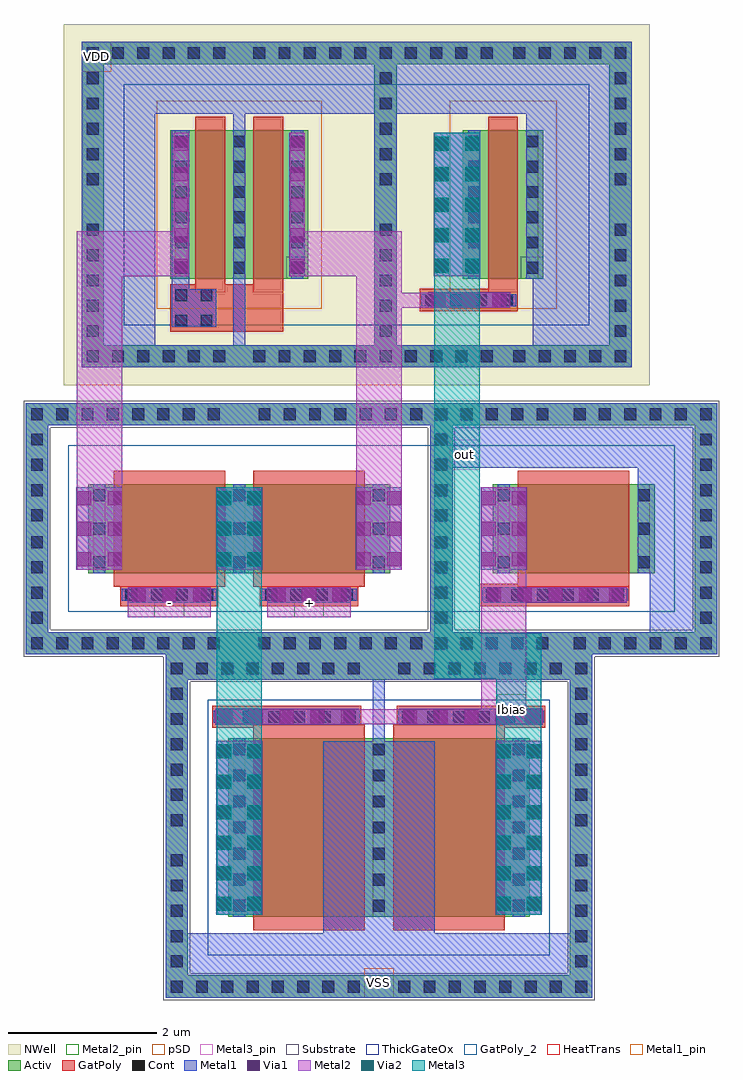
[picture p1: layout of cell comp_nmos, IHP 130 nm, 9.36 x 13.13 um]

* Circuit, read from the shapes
.subckt comp_nmos + - Ibias VDD VSS out
XM1 n1 - n2 VSS sg13_hv_nmos w=1.2u l=1.5u
XM2 VSS Ibias n1 VSS sg13_hv_nmos w=2.4u l=1.5u
XM3 n3 + n1 VSS sg13_hv_nmos w=1.2u l=1.5u
XM4 out Ibias VSS VSS sg13_hv_nmos w=2.4u l=1.5u
XM5 VSS Ibias Ibias VSS sg13_hv_nmos w=1.2u l=1.5u
XM6 VDD n2 n2 VDD sg13_hv_pmos w=2u l=0.4u
XM7 n3 n2 VDD VDD sg13_hv_pmos w=2u l=0.4u
XM8 VDD n3 out VDD sg13_hv_pmos w=2u l=0.4u
.ends

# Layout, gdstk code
from math import pi, radians
import gdstk
lib = gdstk.Library(unit=1e-6, precision=1e-09)
def R(c, l, rs):  # rectangles x0, y0, x1, y1
    for r in rs: c.add(gdstk.rectangle(r[:2], r[2:], *l))
def A(c, l, x, y, w, h, nx, ny, dx, dy):  # array of equal rectangles
    R(c, l, [(x+i*dx, y+j*dy, x+i*dx+w, y+j*dy+h) for i in range(nx) for j in range(ny)])
def P(c, l, *ps):  # polygons
    for p in ps: c.add(gdstk.Polygon(p, *l))
Activ = (1, 0)
GatPoly = (5, 0)
GatPoly_2 = (5, 2)
Cont = (6, 0)
Metal1 = (8, 0)
Metal1_pin = (8, 2)
Metal2 = (10, 0)
Metal2_pin = (10, 2)
pSD = (14, 0)
Via1 = (19, 0)
Via2 = (29, 0)
Metal3 = (30, 0)
Metal3_pin = (30, 2)
NWell = (31, 0)
Substrate = (40, 0)
ThickGateOx = (44, 0)
HeatTrans = (51, 0)

nmoshv_6 = lib.new_cell('nmosHV$6')
A(nmoshv_6, Activ, 0, 0, 0.3, 0.3, 3, 1, 1.88, 0)
R(nmoshv_6, Activ, [(-0.84,-0.79,-0.54,1.99), (4.6,-0.79,4.9,1.99), (0,0,4.06,1.2), (-0.84,1.99,4.9,2.29)])
P(nmoshv_6, Activ, [(-0.84,-1.09),(-0.84,1.99),(-0.54,1.99),(-0.54,-0.79),(4.6,-0.79),(4.6,1.99),(-0.84,1.99),(-0.84,2.29),(4.9,2.29),(4.9,-1.09)])
R(nmoshv_6, GatPoly, [(0.34,-0.18,1.84,1.38), (2.22,-0.18,3.72,1.38)])
R(nmoshv_6, GatPoly_2, [(0.34,-0.18,1.84,1.38)])
A(nmoshv_6, Cont, -0.77, -1.02, 0.16, 0.16, 8, 2, 0.34, 3.08)
A(nmoshv_6, Cont, 2.29, -1.02, 0.16, 0.16, 8, 2, 0.34, 3.08)
A(nmoshv_6, Cont, -0.77, -0.68, 0.16, 0.16, 1, 4, 0, 0.34)
A(nmoshv_6, Cont, 4.67, -0.68, 0.16, 0.16, 1, 4, 0, 0.34)
A(nmoshv_6, Cont, 0.07, 0.07, 0.16, 0.16, 3, 3, 1.88, 0.45)
A(nmoshv_6, Cont, -0.77, 0.7, 0.16, 0.16, 1, 4, 0, 0.34)
A(nmoshv_6, Cont, 4.67, 0.7, 0.16, 0.16, 1, 4, 0, 0.34)
A(nmoshv_6, Metal1, 0.07, 0, 0.16, 1.2, 3, 1, 1.88, 0)
R(nmoshv_6, Metal1, [(-0.84,-1.09,4.9,-0.79), (-0.84,-0.79,-0.54,1.99), (4.6,-0.79,4.9,1.99), (-0.84,1.99,4.9,2.29)])
R(nmoshv_6, Metal1_pin, [(0.07,0,0.23,1.2), (1.95,0,2.11,1.2)])
R(nmoshv_6, pSD, [(-0.87,-0.76,-0.51,1.96), (4.57,-0.76,4.93,1.96), (-0.87,1.96,4.93,2.32)])
P(nmoshv_6, pSD, [(-0.87,-1.12),(-0.87,1.96),(-0.51,1.96),(-0.51,-0.76),(4.57,-0.76),(4.57,1.96),(-0.87,1.96),(-0.87,2.32),(4.93,2.32),(4.93,-1.12)])
R(nmoshv_6, Substrate, [(-0.87,-0.76,-0.51,1.96), (4.57,-0.76,4.93,1.96), (-0.87,1.96,4.93,2.32)])
P(nmoshv_6, Substrate, [(-0.87,-1.12),(-0.87,1.96),(-0.51,1.96),(-0.51,-0.76),(4.57,-0.76),(4.57,1.96),(-0.87,1.96),(-0.87,2.32),(4.93,2.32),(4.93,-1.12)])
R(nmoshv_6, ThickGateOx, [(-0.27,-0.52,4.33,1.72)])
R(nmoshv_6, HeatTrans, [(0.34,-0.18,1.84,1.38), (2.22,-0.18,3.72,1.38)])
nmoshv_6.add(gdstk.Label('nmosHV', (1.09,0.6), layer=63, texttype=0))
nmoshv_6.add(gdstk.Label('sub!', (2.03,-0.94), layer=63, texttype=0))
nmoshv_6.add(gdstk.Label('nmosHV', (1.09,0.6), layer=51, texttype=0))
nmoshv_6.add(gdstk.Label('nmosHV', (2.97,0.6), layer=51, texttype=0))

via_stack_15_1 = lib.new_cell('via_stack$15$1')
R(via_stack_15_1, Metal1, [(-0.555,-0.31,0.555,0.31)])
R(via_stack_15_1, Metal2, [(-0.555,-0.305,0.555,0.305)])
A(via_stack_15_1, Via1, -0.505, -0.3, 0.19, 0.19, 3, 2, 0.41, 0.41)

via_stack_18 = lib.new_cell('via_stack$18')
R(via_stack_18, Metal1, [(-0.965,-0.105,0.965,0.105)])
R(via_stack_18, Metal2, [(-0.965,-0.1,0.965,0.1)])
A(via_stack_18, Via1, -0.915, -0.095, 0.19, 0.19, 5, 1, 0.41, 0)

via_stack_23 = lib.new_cell('via_stack$23')
R(via_stack_23, GatPoly, [(-0.32,-0.32,0.32,0.32)])
R(via_stack_23, Cont, [(-0.25,-0.25,-0.09,-0.09), (0.09,-0.25,0.25,-0.09), (-0.25,0.09,-0.09,0.25), (0.09,0.09,0.25,0.25)])
R(via_stack_23, Metal1, [(-0.3,-0.25,0.3,0.25)])

via_stack_8_1 = lib.new_cell('via_stack$8$1')
R(via_stack_8_1, Metal1, [(-0.555,-0.31,0.555,0.31)])
R(via_stack_8_1, Metal2, [(-0.555,-0.305,0.555,0.305)])
A(via_stack_8_1, Via1, -0.505, -0.3, 0.19, 0.19, 3, 2, 0.41, 0.41)
A(via_stack_8_1, Via2, -0.505, -0.3, 0.19, 0.19, 3, 2, 0.41, 0.41)
R(via_stack_8_1, Metal3, [(-0.555,-0.305,0.555,0.305)])

pmoshv_1_1 = lib.new_cell('pmosHV$1$1')
R(pmoshv_1_1, Activ, [(-1.19,-0.89,-0.89,2.89), (1.97,-0.89,2.27,2.89), (0,0,0.3,0.3), (0,0,1.08,2), (0.78,0,1.08,0.3), (-1.19,2.89,2.27,3.19)])
P(pmoshv_1_1, Activ, [(-1.19,-1.19),(-1.19,2.89),(-0.89,2.89),(-0.89,-0.89),(1.97,-0.89),(1.97,2.89),(-1.19,2.89),(-1.19,3.19),(2.27,3.19),(2.27,-1.19)])
R(pmoshv_1_1, GatPoly, [(0.34,-0.18,0.74,2.18)])
R(pmoshv_1_1, GatPoly_2, [(0.34,-0.18,0.74,2.18)])
A(pmoshv_1_1, Cont, -1.12, -1.12, 0.16, 0.16, 5, 2, 0.34, 4.08)
A(pmoshv_1_1, Cont, 0.68, -1.12, 0.16, 0.16, 5, 2, 0.34, 4.08)
A(pmoshv_1_1, Cont, -1.12, -0.78, 0.16, 0.16, 1, 5, 0, 0.34)
A(pmoshv_1_1, Cont, 2.04, -0.78, 0.16, 0.16, 1, 5, 0, 0.34)
A(pmoshv_1_1, Cont, 0.07, 0.07, 0.16, 0.16, 1, 6, 0, 0.34)
A(pmoshv_1_1, Cont, 0.85, 0.07, 0.16, 0.16, 1, 6, 0, 0.34)
A(pmoshv_1_1, Cont, -1.12, 1.26, 0.16, 0.16, 1, 5, 0, 0.34)
A(pmoshv_1_1, Cont, 2.04, 1.26, 0.16, 0.16, 1, 5, 0, 0.34)
R(pmoshv_1_1, Metal1, [(-1.19,-1.19,2.27,-0.89), (-1.19,-0.89,-0.89,2.89), (1.97,-0.89,2.27,2.89), (0.07,0,0.23,2), (0.85,0,1.01,2), (-1.19,2.89,2.27,3.19)])
R(pmoshv_1_1, Metal1_pin, [(0.07,0,0.23,2), (0.85,0,1.01,2)])
R(pmoshv_1_1, pSD, [(-0.18,-0.4,1.26,2.4)])
R(pmoshv_1_1, NWell, [(-1.43,-1.43,2.51,3.43), (-0.62,-0.62,1.7,2.62)])
R(pmoshv_1_1, Substrate, [(0.78,0,1.08,0.3)])
R(pmoshv_1_1, ThickGateOx, [(-0.62,-0.62,1.7,2.62)])
R(pmoshv_1_1, HeatTrans, [(0.34,-0.18,0.74,2.18)])
pmoshv_1_1.add(gdstk.Label('pmosHV', (0.54,1), layer=63, texttype=0))
pmoshv_1_1.add(gdstk.Label('well', (0.54,-1.04), layer=63, texttype=0))
pmoshv_1_1.add(gdstk.Label('pmos', (0.54,1), layer=51, texttype=0))

pmoshv_2 = lib.new_cell('pmosHV$2')
A(pmoshv_2, Activ, 0, 0, 0.3, 0.3, 3, 1, 0.78, 0)
R(pmoshv_2, Activ, [(-1.19,-0.89,-0.89,2.89), (2.75,-0.89,3.05,2.89), (0,0,1.86,2), (-1.19,2.89,3.05,3.19)])
P(pmoshv_2, Activ, [(-1.19,-1.19),(-1.19,2.89),(-0.89,2.89),(-0.89,-0.89),(2.75,-0.89),(2.75,2.89),(-1.19,2.89),(-1.19,3.19),(3.05,3.19),(3.05,-1.19)])
R(pmoshv_2, GatPoly, [(0.34,-0.18,0.74,2.18), (1.12,-0.18,1.52,2.18)])
R(pmoshv_2, GatPoly_2, [(0.34,-0.18,0.74,2.18)])
A(pmoshv_2, Cont, -1.12, -1.12, 0.16, 0.16, 6, 2, 0.34, 4.08)
A(pmoshv_2, Cont, 1.12, -1.12, 0.16, 0.16, 6, 2, 0.34, 4.08)
A(pmoshv_2, Cont, -1.12, -0.78, 0.16, 0.16, 1, 5, 0, 0.34)
A(pmoshv_2, Cont, 2.82, -0.78, 0.16, 0.16, 1, 5, 0, 0.34)
A(pmoshv_2, Cont, 0.07, 0.07, 0.16, 0.16, 3, 6, 0.78, 0.34)
A(pmoshv_2, Cont, -1.12, 1.26, 0.16, 0.16, 1, 5, 0, 0.34)
A(pmoshv_2, Cont, 2.82, 1.26, 0.16, 0.16, 1, 5, 0, 0.34)
A(pmoshv_2, Metal1, 0.07, 0, 0.16, 2, 3, 1, 0.78, 0)
R(pmoshv_2, Metal1, [(-1.19,-1.19,3.05,-0.89), (-1.19,-0.89,-0.89,2.89), (2.75,-0.89,3.05,2.89), (-1.19,2.89,3.05,3.19)])
R(pmoshv_2, Metal1_pin, [(0.07,0,0.23,2), (0.85,0,1.01,2)])
R(pmoshv_2, pSD, [(-0.18,-0.4,2.04,2.4)])
R(pmoshv_2, NWell, [(-1.43,-1.43,3.29,3.43), (-0.62,-0.62,2.48,2.62)])
R(pmoshv_2, Substrate, [(1.56,0,1.86,0.3)])
R(pmoshv_2, ThickGateOx, [(-0.62,-0.62,2.48,2.62)])
R(pmoshv_2, HeatTrans, [(0.34,-0.18,0.74,2.18), (1.12,-0.18,1.52,2.18)])
pmoshv_2.add(gdstk.Label('pmosHV', (0.54,1), layer=63, texttype=0))
pmoshv_2.add(gdstk.Label('well', (0.93,-1.04), layer=63, texttype=0))
pmoshv_2.add(gdstk.Label('pmos', (0.54,1), layer=51, texttype=0))
pmoshv_2.add(gdstk.Label('pmos', (1.32,1), layer=51, texttype=0))

via_stack_11 = lib.new_cell('via_stack$11')
R(via_stack_11, Metal1, [(-1.17,-0.31,1.17,0.31)])
R(via_stack_11, Metal2, [(-1.17,-0.305,1.17,0.305)])
A(via_stack_11, Via1, -1.12, -0.3, 0.19, 0.19, 6, 2, 0.41, 0.41)
A(via_stack_11, Via2, -1.12, -0.3, 0.19, 0.19, 6, 2, 0.41, 0.41)
R(via_stack_11, Metal3, [(-1.17,-0.305,1.17,0.305)])

nmoshv_1 = lib.new_cell('nmosHV$1')
A(nmoshv_1, Activ, 0, 0, 0.3, 0.3, 3, 1, 1.88, 0)
R(nmoshv_1, Activ, [(-0.84,-0.79,-0.54,3.19), (4.6,-0.79,4.9,3.19), (0,0,4.06,2.4), (-0.84,3.19,4.9,3.49)])
P(nmoshv_1, Activ, [(-0.84,-1.09),(-0.84,3.19),(-0.54,3.19),(-0.54,-0.79),(4.6,-0.79),(4.6,3.19),(-0.84,3.19),(-0.84,3.49),(4.9,3.49),(4.9,-1.09)])
R(nmoshv_1, GatPoly, [(0.34,-0.18,1.84,2.58), (2.22,-0.18,3.72,2.58)])
R(nmoshv_1, GatPoly_2, [(0.34,-0.18,1.84,2.58)])
A(nmoshv_1, Cont, -0.77, -1.02, 0.16, 0.16, 8, 2, 0.34, 4.28)
A(nmoshv_1, Cont, 2.29, -1.02, 0.16, 0.16, 8, 2, 0.34, 4.28)
A(nmoshv_1, Cont, -0.77, -0.68, 0.16, 0.16, 1, 5, 0, 0.34)
A(nmoshv_1, Cont, 4.67, -0.68, 0.16, 0.16, 1, 5, 0, 0.34)
A(nmoshv_1, Cont, 0.07, 0.07, 0.16, 0.16, 3, 7, 1.88, 0.35)
A(nmoshv_1, Cont, -0.77, 1.22, 0.16, 0.16, 1, 6, 0, 0.34)
A(nmoshv_1, Cont, 4.67, 1.22, 0.16, 0.16, 1, 6, 0, 0.34)
A(nmoshv_1, Metal1, 0.07, 0, 0.16, 2.4, 3, 1, 1.88, 0)
R(nmoshv_1, Metal1, [(-0.84,-1.09,4.9,-0.79), (-0.84,-0.79,-0.54,3.19), (4.6,-0.79,4.9,3.19), (-0.84,3.19,4.9,3.49)])
R(nmoshv_1, Metal1_pin, [(0.07,0,0.23,2.4), (1.95,0,2.11,2.4)])
R(nmoshv_1, pSD, [(-0.87,-0.76,-0.51,3.16), (4.57,-0.76,4.93,3.16), (-0.87,3.16,4.93,3.52)])
P(nmoshv_1, pSD, [(-0.87,-1.12),(-0.87,3.16),(-0.51,3.16),(-0.51,-0.76),(4.57,-0.76),(4.57,3.16),(-0.87,3.16),(-0.87,3.52),(4.93,3.52),(4.93,-1.12)])
R(nmoshv_1, Substrate, [(-0.87,-0.76,-0.51,3.16), (4.57,-0.76,4.93,3.16), (-0.87,3.16,4.93,3.52)])
P(nmoshv_1, Substrate, [(-0.87,-1.12),(-0.87,3.16),(-0.51,3.16),(-0.51,-0.76),(4.57,-0.76),(4.57,3.16),(-0.87,3.16),(-0.87,3.52),(4.93,3.52),(4.93,-1.12)])
R(nmoshv_1, ThickGateOx, [(-0.27,-0.52,4.33,2.92)])
R(nmoshv_1, HeatTrans, [(0.34,-0.18,1.84,2.58), (2.22,-0.18,3.72,2.58)])
nmoshv_1.add(gdstk.Label('nmosHV', (1.09,1.2), layer=63, texttype=0))
nmoshv_1.add(gdstk.Label('sub!', (2.03,-0.94), layer=63, texttype=0))
nmoshv_1.add(gdstk.Label('nmosHV', (1.09,1.2), layer=51, texttype=0))
nmoshv_1.add(gdstk.Label('nmosHV', (2.97,1.2), layer=51, texttype=0))

via_stack_12_1 = lib.new_cell('via_stack$12$1')
R(via_stack_12_1, Metal1, [(-0.965,-0.31,0.965,0.31)])
R(via_stack_12_1, Metal2, [(-0.965,-0.305,0.965,0.305)])
A(via_stack_12_1, Via1, -0.915, -0.3, 0.19, 0.19, 5, 2, 0.41, 0.41)
A(via_stack_12_1, Via2, -0.915, -0.3, 0.19, 0.19, 5, 2, 0.41, 0.41)
R(via_stack_12_1, Metal3, [(-0.965,-0.305,0.965,0.305)])

via_stack_13_1 = lib.new_cell('via_stack$13$1')
R(via_stack_13_1, GatPoly, [(-0.15,-1,0.15,1)])
A(via_stack_13_1, Cont, -0.08, -0.93, 0.16, 0.16, 1, 6, 0, 0.34)
R(via_stack_13_1, Metal1, [(-0.08,-0.98,0.08,0.98)])

via_stack_14_1 = lib.new_cell('via_stack$14$1')
R(via_stack_14_1, Metal1, [(-0.105,-0.965,0.105,0.965)])
R(via_stack_14_1, Metal2, [(-0.1,-0.965,0.1,0.965)])
A(via_stack_14_1, Via1, -0.095, -0.915, 0.19, 0.19, 1, 5, 0, 0.41)

via_stack_19_1 = lib.new_cell('via_stack$19$1')
R(via_stack_19_1, GatPoly, [(-0.15,-0.66,0.15,0.66)])
A(via_stack_19_1, Cont, -0.08, -0.59, 0.16, 0.16, 1, 4, 0, 0.34)
R(via_stack_19_1, Metal1, [(-0.08,-0.64,0.08,0.64)])

via_stack_22 = lib.new_cell('via_stack$22')
R(via_stack_22, GatPoly, [(-0.66,-0.15,0.66,0.15)])
A(via_stack_22, Cont, -0.59, -0.08, 0.16, 0.16, 4, 1, 0.34, 0)
R(via_stack_22, Metal1, [(-0.64,-0.08,0.64,0.08)])

via_stack_16_1 = lib.new_cell('via_stack$16$1')
R(via_stack_16_1, Metal1, [(-0.555,-0.105,0.555,0.105)])
R(via_stack_16_1, Metal2, [(-0.555,-0.1,0.555,0.1)])
A(via_stack_16_1, Via1, -0.505, -0.095, 0.19, 0.19, 3, 1, 0.41, 0)

via_stack_20 = lib.new_cell('via_stack$20')
R(via_stack_20, Metal1, [(-0.105,-0.555,0.105,0.555)])
R(via_stack_20, Metal2, [(-0.1,-0.555,0.1,0.555)])
A(via_stack_20, Via1, -0.095, -0.505, 0.19, 0.19, 1, 3, 0, 0.41)

nmoshv_2_1 = lib.new_cell('nmosHV$2$1')
R(nmoshv_2_1, Activ, [(-0.84,-0.79,-0.54,1.99), (2.72,-0.79,3.02,1.99), (0,0,0.3,0.3), (0,0,2.18,1.2), (1.88,0,2.18,0.3), (-0.84,1.99,3.02,2.29)])
P(nmoshv_2_1, Activ, [(-0.84,-1.09),(-0.84,1.99),(-0.54,1.99),(-0.54,-0.79),(2.72,-0.79),(2.72,1.99),(-0.84,1.99),(-0.84,2.29),(3.02,2.29),(3.02,-1.09)])
R(nmoshv_2_1, GatPoly, [(0.34,-0.18,1.84,1.38)])
R(nmoshv_2_1, GatPoly_2, [(0.34,-0.18,1.84,1.38)])
A(nmoshv_2_1, Cont, -0.77, -1.02, 0.16, 0.16, 5, 2, 0.34, 3.08)
A(nmoshv_2_1, Cont, 1.09, -1.02, 0.16, 0.16, 6, 2, 0.34, 3.08)
A(nmoshv_2_1, Cont, -0.77, -0.68, 0.16, 0.16, 1, 4, 0, 0.34)
A(nmoshv_2_1, Cont, 2.79, -0.68, 0.16, 0.16, 1, 4, 0, 0.34)
A(nmoshv_2_1, Cont, 0.07, 0.07, 0.16, 0.16, 1, 3, 0, 0.45)
A(nmoshv_2_1, Cont, 1.95, 0.07, 0.16, 0.16, 1, 3, 0, 0.45)
A(nmoshv_2_1, Cont, -0.77, 0.7, 0.16, 0.16, 1, 4, 0, 0.34)
A(nmoshv_2_1, Cont, 2.79, 0.7, 0.16, 0.16, 1, 4, 0, 0.34)
R(nmoshv_2_1, Metal1, [(-0.84,-1.09,3.02,-0.79), (-0.84,-0.79,-0.54,1.99), (2.72,-0.79,3.02,1.99), (0.07,0,0.23,1.2), (1.95,0,2.11,1.2), (-0.84,1.99,3.02,2.29)])
R(nmoshv_2_1, Metal1_pin, [(0.07,0,0.23,1.2), (1.95,0,2.11,1.2)])
R(nmoshv_2_1, pSD, [(-0.87,-0.76,-0.51,1.96), (2.69,-0.76,3.05,1.96), (-0.87,1.96,3.05,2.32)])
P(nmoshv_2_1, pSD, [(-0.87,-1.12),(-0.87,1.96),(-0.51,1.96),(-0.51,-0.76),(2.69,-0.76),(2.69,1.96),(-0.87,1.96),(-0.87,2.32),(3.05,2.32),(3.05,-1.12)])
R(nmoshv_2_1, Substrate, [(-0.87,-0.76,-0.51,1.96), (2.69,-0.76,3.05,1.96), (-0.87,1.96,3.05,2.32)])
P(nmoshv_2_1, Substrate, [(-0.87,-1.12),(-0.87,1.96),(-0.51,1.96),(-0.51,-0.76),(2.69,-0.76),(2.69,1.96),(-0.87,1.96),(-0.87,2.32),(3.05,2.32),(3.05,-1.12)])
R(nmoshv_2_1, ThickGateOx, [(-0.27,-0.52,2.45,1.72)])
R(nmoshv_2_1, HeatTrans, [(0.34,-0.18,1.84,1.38)])
nmoshv_2_1.add(gdstk.Label('nmosHV', (1.09,0.6), layer=63, texttype=0))
nmoshv_2_1.add(gdstk.Label('sub!', (1.09,-0.94), layer=63, texttype=0))
nmoshv_2_1.add(gdstk.Label('nmosHV', (1.09,0.6), layer=51, texttype=0))

comp_nmos = lib.new_cell('comp_nmos')
R(comp_nmos, Activ, [(-0.99,-0.82,4.75,-0.78)])
R(comp_nmos, GatPoly, [(-0.93,3.56,0.59,4.2)])
R(comp_nmos, Metal1, [(-0.69,-5.1,4.45,-4.53), (1.8,-5.1,1.96,-4.31), (1.13,-4.53,2.63,-1.95), (1.8,-1.91,1.96,-1.12), (-0.99,-0.82,4.75,-0.78), (5.52,-0.48,6.13,0.31), (5.36,0.31,6.13,2.3), (2.87,1.73,5.36,2.3), (-1.82,3.38,-1.13,7.16), (-0.08,3.38,0.08,7.16), (3.95,3.38,4.98,4.27), (-0.91,3.63,-0.67,6.27), (3.86,4.27,4.98,7.16), (-1.13,6.49,3.86,7.16)])
R(comp_nmos, Metal1_pin, [(1.68,-5.4,2.08,-5), (-2.12,7.06,-1.72,7.46)])
R(comp_nmos, Metal2, [(-0.325,-1.72,4.085,-1.52), (3.255,-1.72,3.865,1.465), (-1.5,-0.28,-0.38,0.12), (0.38,-0.28,1.5,0.12)])
R(comp_nmos, Metal2_pin, [(3.465,-1.72,3.865,-1.32), (-1.14,-0.28,-0.74,0.12), (0.74,-0.28,1.14,0.12)])
R(comp_nmos, Metal3, [(-0.305,-1.94,0.305,0.355)])
R(comp_nmos, Metal3_pin, [(2.835,1.705,3.235,2.105)])
R(comp_nmos, ThickGateOx, [(2.3,-0.21,3.14,2.03), (1.55,3.65,2.39,6.89)])
comp_nmos.add(gdstk.FlexPath([(3.645,3.985),(2.185,3.985)], 0.2, ends="flush", simple_path=True, layer=10, datatype=0))  # Metal2
comp_nmos.add(gdstk.FlexPath([(1.88,1.465),(1.88,4.61),(0.88,4.61)], 0.61, ends="flush", simple_path=True, layer=10, datatype=0))  # Metal2
comp_nmos.add(gdstk.FlexPath([(-1.88,1.465),(-1.88,4.61),(-0.88,4.61)], 0.61, ends="flush", simple_path=True, layer=10, datatype=0))  # Metal2
comp_nmos.add(gdstk.FlexPath([(3.76,-1.94),(3.76,-0.8),(2.93,-0.8),(2.93,4.305)], 0.61, ends="flush", simple_path=True, layer=30, datatype=0))  # Metal3
comp_nmos.add(gdstk.Reference(nmoshv_6, (-2.03,0.31)))
comp_nmos.add(gdstk.Reference(via_stack_15_1, (-1.88,0.91), rotation=pi/2))
comp_nmos.add(gdstk.Reference(via_stack_18, (0.78,5.27), rotation=pi/2))
comp_nmos.add(gdstk.Reference(via_stack_18, (-0.78,5.27), rotation=pi/2))
comp_nmos.add(gdstk.Reference(via_stack_23, (-0.61,3.88)))
comp_nmos.add(gdstk.Reference(via_stack_15_1, (1.88,0.91), rotation=pi/2))
comp_nmos.add(gdstk.Reference(via_stack_8_1, (0,0.91), rotation=pi/2))
comp_nmos.add(gdstk.Reference(pmoshv_1_1, (3.01,4.27)))
comp_nmos.add(gdstk.Reference(pmoshv_2, (-0.93,4.27)))
comp_nmos.add(gdstk.Reference(via_stack_11, (0,-3.11), rotation=pi/2))
comp_nmos.add(gdstk.Reference(nmoshv_1, (-0.15,-4.31)))
comp_nmos.add(gdstk.Reference(via_stack_11, (3.76,-3.11), rotation=pi/2))
comp_nmos.add(gdstk.Reference(via_stack_12_1, (2.93,5.27), rotation=pi/2))
comp_nmos.add(gdstk.Reference(via_stack_13_1, (0.64,-1.62), rotation=pi/2))
comp_nmos.add(gdstk.Reference(via_stack_13_1, (3.12,-1.62), rotation=pi/2))
comp_nmos.add(gdstk.Reference(via_stack_14_1, (0.64,-1.62), rotation=pi/2))
comp_nmos.add(gdstk.Reference(via_stack_14_1, (3.12,-1.62), rotation=pi/2))
comp_nmos.add(gdstk.Reference(via_stack_19_1, (-0.94,0.02), rotation=pi/2))
comp_nmos.add(gdstk.Reference(via_stack_22, (3.09,3.985)))
comp_nmos.add(gdstk.Reference(via_stack_16_1, (3.09,3.985)))
comp_nmos.add(gdstk.Reference(via_stack_20, (-0.94,0.02), rotation=pi/2))
comp_nmos.add(gdstk.Reference(via_stack_19_1, (0.94,0.02), rotation=pi/2))
comp_nmos.add(gdstk.Reference(via_stack_20, (0.94,0.02), rotation=pi/2))
comp_nmos.add(gdstk.Reference(nmoshv_2_1, (3.41,0.31)))
comp_nmos.add(gdstk.Reference(via_stack_14_1, (4.25,0.02), rotation=pi/2))
comp_nmos.add(gdstk.Reference(via_stack_13_1, (4.25,0.02), rotation=pi/2))
comp_nmos.add(gdstk.Reference(via_stack_15_1, (3.56,0.91), rotation=pi/2))
comp_nmos.add(gdstk.Label('VDD', (-1.92,7.26), layer=8, texttype=25))
comp_nmos.add(gdstk.Label('VSS', (1.88,-5.2), layer=8, texttype=25))
comp_nmos.add(gdstk.Label('Ibias', (3.665,-1.52), layer=10, texttype=25))
comp_nmos.add(gdstk.Label('+', (0.94,-0.08), layer=10, texttype=25))
comp_nmos.add(gdstk.Label('-', (-0.94,-0.08), layer=10, texttype=25))
comp_nmos.add(gdstk.Label('out', (3.035,1.905), layer=30, texttype=25))

lib.write_gds('comp_nmos.gds')
